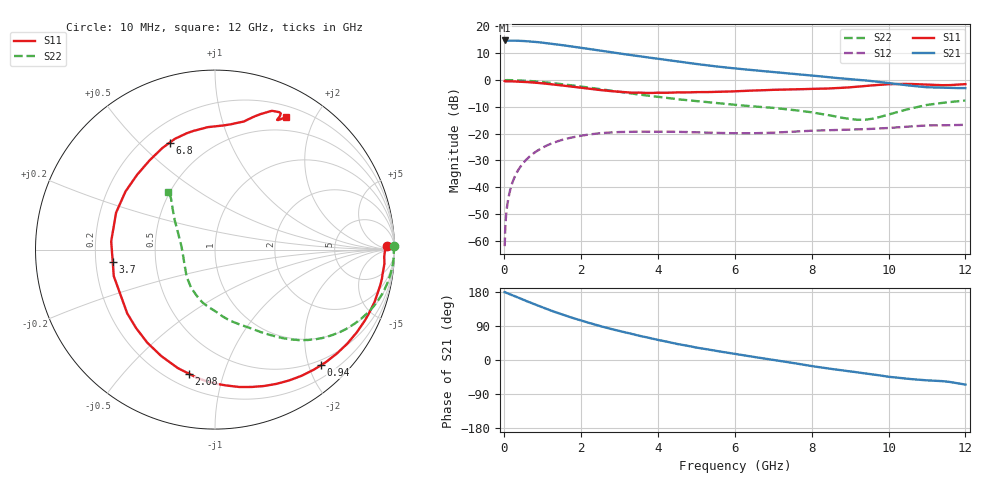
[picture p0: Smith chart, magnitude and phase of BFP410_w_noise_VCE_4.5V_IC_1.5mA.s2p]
! Infineon Technologies  Discrete & RF Semiconductors
! BFP410
! VCE =  4.5 V,  IC =  1.5 mA
! Common Emitter S-Parameters:  Nov 2015
# GHz  S  MA  R  50
!  f  S11  S21  S12  S22
! GHz  MAG  ANG  MAG  ANG  MAG  ANG  MAG  ANG
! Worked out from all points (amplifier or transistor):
!   243 points, 10 MHz to 12 GHz, reference 50 ohm
!   highest |S21| = 14.7 dB at 10 MHz (marker M1)
!   |S21| within 3 dB of that: start of sweep to 2.121 GHz
!   unconditionally stable (mu >= 1): 4.372 GHz to end of sweep
!   at 240 MHz: K = 0.07, MSG = 25.9 dB, |S12| = -37.2 dB
!   at 1.84 GHz: K = 0.32, MSG = 16.8 dB, |S12| = -21.2 dB
!   at 12 GHz: K = 1.17, MAG = 4.3 dB, |S12| = -16.7 dB
!   lowest NFmin = 0.80 dB at 900 MHz
!   S11 on the Smith chart (normalised r, x): 10 MHz: 38, +17; 940 MHz: 0.41, -2.21; 2.08 GHz: 0.28, -0.77; 3.7 GHz: 0.27, -0.06; 6.8 GHz: 0.30, +0.62; 12 GHz: 0.33, +1.62
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0.01  0.9572 1.1  5.462 179.2  0.0008 -5.4  1 1.1
0.035  0.9454 -1.2  5.406 178.3  0.0022 72.5  0.9928 -0.1
0.07  0.9448 -3.3  5.409 176.8  0.0042 78.9  0.9964 -1.2
0.22  0.943 -10.9  5.413 170.7  0.0127 81.5  0.9933 -5.2
0.5  0.9242 -25.2  5.338 158.9  0.0287 75.4  0.9753 -11.9
0.94  0.8739 -47.5  5.025 141.1  0.052 63.6  0.9248 -21.8
1.2  0.8378 -60.5  4.787 131.1  0.0644 56.9  0.886 -27.3
1.4  0.8074 -70.3  4.579 123.8  0.0726 51.7  0.8539 -31.2
1.7  0.7623 -84.5  4.281 113.6  0.0831 44.5  0.805 -36.4
2.02  0.7168 -99.1  3.96 103.7  0.0921 37.6  0.7533 -41.5
2.08  0.7067 -101.8  3.904 101.9  0.0935 36.3  0.7432 -42.3
2.4  0.6644 -116.8  3.626 92.3  0.1005 29.8  0.6909 -46.9
2.8  0.6199 -135.2  3.285 81.4  0.1056 22.5  0.627 -52.1
3.7  0.574 -173.0  2.66 60.0  0.1089 10.0  0.5156 -61.9
4.1  0.5782 172.2  2.437 51.1  0.109 5.9  0.475 -66.4
5  0.5945 147.0  1.991 32.8  0.1062 -1.4  0.4048 -78.1
6.1  0.6194 124.5  1.619 14.6  0.1017 -4.8  0.3401 -90.7
6.8  0.6474 112.9  1.453 3.3  0.1033 -4.9  0.3098 -100.6
8.2  0.6871 89.7  1.176 -18.8  0.1146 -8.6  0.236 -127.4
9.4  0.7759 73.3  0.981 -35.5  0.1214 -12.0  0.182 -177.4
10.2  0.8403 66.3  0.844 -46.3  0.1307 -14.2  0.2492 149.4
12  0.8375 61.8  0.707 -64.9  0.1462 -26.5  0.4146 129.5
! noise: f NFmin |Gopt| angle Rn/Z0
0.45  0.83  0.58  8  0.37
0.9  0.8  0.56  23  0.31
1.8  1.07  0.45  56  0.26
2.4  1.14  0.41  67  0.25
5.5  2.37  0.4  -150  0.18
10  4.33  0.72  -58  2.98
